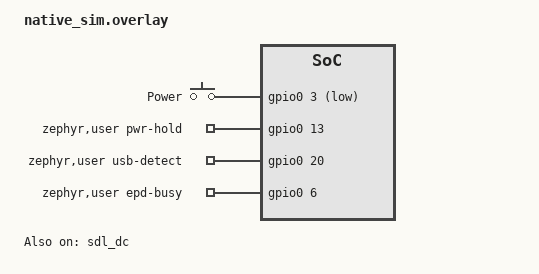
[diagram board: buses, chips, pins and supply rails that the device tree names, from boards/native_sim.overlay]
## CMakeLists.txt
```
# SPDX-License-Identifier: MIT

cmake_minimum_required(VERSION 3.20.0)

find_package(Zephyr REQUIRED HINTS $ENV{ZEPHYR_BASE})
project(crosspoint)

target_include_directories(app PRIVATE src)
target_sources(app PRIVATE
  src/main.cpp
  src/hal/HalGpio.cpp
  src/hal/HalDisplay.cpp
  src/hal/HalStorage.cpp
  src/hal/HalPower.cpp
  src/hal/HalSystem.cpp
)
```

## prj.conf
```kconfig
CONFIG_CPP=y
CONFIG_STD_CPP20=y
CONFIG_CPP_EXCEPTIONS=n
CONFIG_CPP_RTTI=n

CONFIG_GPIO=y
CONFIG_PRINTK=y
CONFIG_LOG=y
CONFIG_REBOOT=y
CONFIG_MAIN_STACK_SIZE=4096
CONFIG_HEAP_MEM_POOL_SIZE=4096
```

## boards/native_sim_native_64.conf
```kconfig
CONFIG_DISPLAY=y
CONFIG_SDL_DISPLAY=y
CONFIG_SDL_DISPLAY_DEFAULT_PIXEL_FORMAT_MONO01=y
CONFIG_SDL_DISPLAY_MONO_VTILED=n
CONFIG_SDL_DISPLAY_USE_HARDWARE_ACCELERATOR=n
```

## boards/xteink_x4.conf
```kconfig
CONFIG_SPI=y
CONFIG_ADC=y
CONFIG_SDHC=y
CONFIG_DISK_ACCESS=y
CONFIG_DISK_DRIVER_SDMMC=y
CONFIG_FILE_SYSTEM=y
CONFIG_FAT_FILESYSTEM_ELM=y
CONFIG_FS_FATFS_MOUNT_MKFS=n
CONFIG_MAIN_STACK_SIZE=8192
CONFIG_HEAP_MEM_POOL_SIZE=16384
```

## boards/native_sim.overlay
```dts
/*
 * SPDX-License-Identifier: MIT
 */

#include <zephyr/dt-bindings/gpio/gpio.h>
#include <zephyr/dt-bindings/input/input-event-codes.h>

/ {
	chosen {
		/delete-property/ zephyr,touch;
	};
};

&sdl_dc {
	status = "okay";
	height = <480>;
	width = <800>;
	title = "CrossPoint X4";
};

&input_sdl_touch {
	status = "disabled";
};

/ {
	buttons {
		compatible = "gpio-keys";

		power_button: power-button {
			label = "Power";
			gpios = <&gpio0 3 (GPIO_PULL_UP | GPIO_ACTIVE_LOW)>;
			zephyr,code = <INPUT_KEY_POWER>;
		};
	};

	zephyr,user {
		pwr-hold-gpios = <&gpio0 13 GPIO_ACTIVE_HIGH>;
		usb-detect-gpios = <&gpio0 20 GPIO_ACTIVE_HIGH>;
		epd-busy-gpios = <&gpio0 6 GPIO_ACTIVE_HIGH>;
	};

	aliases {
		sw0 = &power_button;
	};
};
```

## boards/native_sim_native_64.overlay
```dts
/*
 * SPDX-License-Identifier: MIT
 */

#include <zephyr/dt-bindings/gpio/gpio.h>
#include <zephyr/dt-bindings/input/input-event-codes.h>

/ {
	chosen {
		/delete-property/ zephyr,display;
		/delete-property/ zephyr,touch;
	};
};

&sdl_dc {
	status = "disabled";
};

&input_sdl_touch {
	status = "disabled";
};

/ {
	buttons {
		compatible = "gpio-keys";

		power_button: power-button {
			label = "Power";
			gpios = <&gpio0 3 (GPIO_PULL_UP | GPIO_ACTIVE_LOW)>;
			zephyr,code = <INPUT_KEY_POWER>;
		};
	};

	zephyr,user {
		pwr-hold-gpios = <&gpio0 13 GPIO_ACTIVE_HIGH>;
		usb-detect-gpios = <&gpio0 20 GPIO_ACTIVE_HIGH>;
		epd-busy-gpios = <&gpio0 6 GPIO_ACTIVE_HIGH>;
	};

	aliases {
		sw0 = &power_button;
	};
};
```

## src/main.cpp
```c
/*
 * SPDX-License-Identifier: MIT
 */

#include <stddef.h>
#include <stdint.h>
#include <zephyr/kernel.h>

#include "hal/HalDisplay.h"
#include "hal/HalGpio.h"
#include "hal/HalPower.h"
#include "hal/HalStorage.h"
#include "os/Logging.h"
#include "os/OsTime.h"

static void setPixel(uint8_t* fb, int x, int y, bool black) {
  if (x < 0 || y < 0 || x >= HalDisplay::WIDTH || y >= HalDisplay::HEIGHT) {
    return;
  }
  uint8_t* byte = fb + static_cast<size_t>(y) * HalDisplay::WIDTH_BYTES + static_cast<size_t>(x / 8);
  const uint8_t bit = static_cast<uint8_t>(0x80 >> (x % 8));
  if (black) {
    *byte = static_cast<uint8_t>(*byte & ~bit);
  } else {
    *byte = static_cast<uint8_t>(*byte | bit);
  }
}

static void fillRect(uint8_t* fb, int x0, int y0, int x1, int y1, bool black) {
  for (int y = y0; y < y1; y++) {
    for (int x = x0; x < x1; x++) {
      setPixel(fb, x, y, black);
    }
  }
}

static void paintDemoPage(uint8_t* fb) {
  display.clear(0xFF);
  fillRect(fb, 0, 0, HalDisplay::WIDTH, 4, true);
  fillRect(fb, 0, HalDisplay::HEIGHT - 4, HalDisplay::WIDTH, HalDisplay::HEIGHT, true);
  fillRect(fb, 0, 0, 4, HalDisplay::HEIGHT, true);
  fillRect(fb, HalDisplay::WIDTH - 4, 0, HalDisplay::WIDTH, HalDisplay::HEIGHT, true);
  fillRect(fb, 24, 24, HalDisplay::WIDTH - 24, 64, true);

  int y = 88;
  const int lineH = 3;
  const int gap = 14;
  while (y + lineH < HalDisplay::HEIGHT - 40) {
    const int inset = ((y / 30) % 3 == 0) ? 80 : 24;
    fillRect(fb, 24, y, HalDisplay::WIDTH - inset, y + lineH, true);
    y += lineH + gap;
  }
  fillRect(fb, HalDisplay::WIDTH - 120, HalDisplay::HEIGHT - 28, HalDisplay::WIDTH - 24, HalDisplay::HEIGHT - 12, true);
}

int main(void) {
  LOG_INF("BOOT", "CrossPoint Zephyr port on %s", CONFIG_BOARD);

  if (!power.begin()) {
    LOG_ERR("BOOT", "power init failed");
  }
  if (!gpio.begin()) {
    LOG_ERR("BOOT", "gpio init failed");
  }
  if (!display.begin()) {
    LOG_ERR("BOOT", "display init failed");
  }
  if (!storage.begin()) {
    LOG_INF("BOOT", "storage not mounted");
  }

  paintDemoPage(display.framebuffer());
  display.present();
  LOG_INF("BOOT", "battery %u%% usb %d", power.batteryPercent(), gpio.isUsbConnected() ? 1 : 0);

  while (true) {
    gpio.update();
    if (gpio.wasPressed(HalGpio::BTN_POWER)) {
      LOG_INF("BOOT", "power button");
    }
    osSleepMs(50);
  }
}
```
